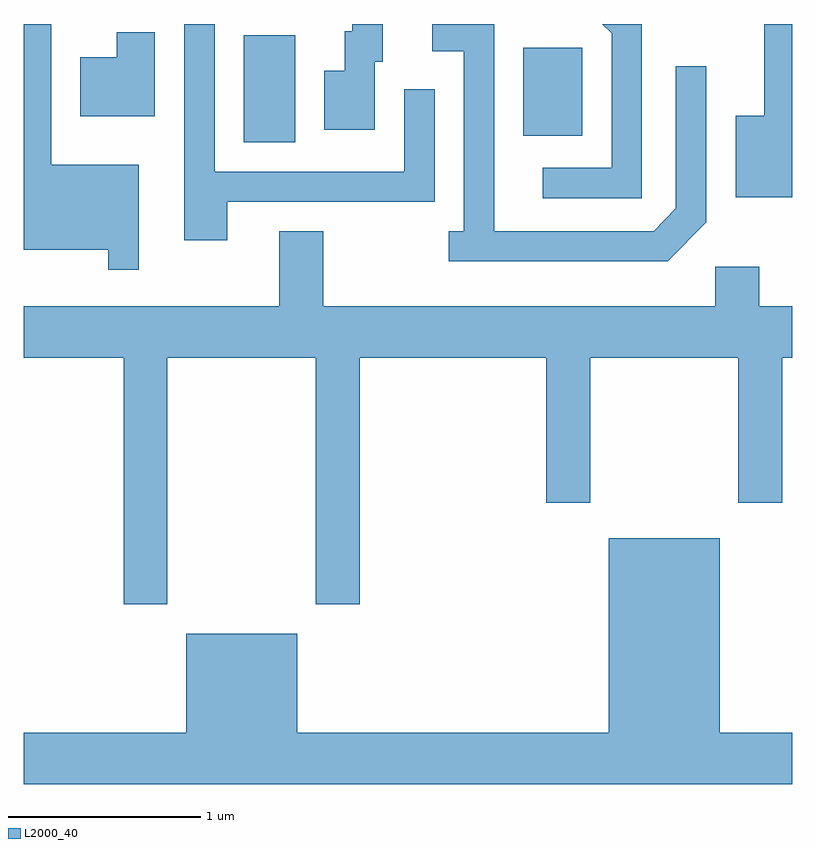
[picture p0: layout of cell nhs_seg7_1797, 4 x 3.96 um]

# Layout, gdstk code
import gdstk
lib = gdstk.Library(unit=1e-6, precision=1e-09)
def R(c, l, rs):  # rectangles x0, y0, x1, y1
    for r in rs: c.add(gdstk.rectangle(r[:2], r[2:], *l))
def P(c, l, *ps):  # polygons
    for p in ps: c.add(gdstk.Polygon(p, *l))
L2000_40 = (2000, 40)

nhs_seg7_1797 = lib.new_cell('nhs_seg7_1797')
R(nhs_seg7_1797, L2000_40, [(240.756,1737.636,241.024,1738.194), (242.211,1737.671,242.519,1738.129)])
P(nhs_seg7_1797, L2000_40, [(243.611,1738.252),(243.466,1738.252),(243.466,1737.774),(243.316,1737.774),(243.316,1737.351),(243.611,1737.351)],
  [(243.164,1737.219),(243.164,1738.033),(243.006,1738.033),(243.006,1737.292),(242.889,1737.174),(242.059,1737.174),(242.059,1738.252),(241.738,1738.252),(241.738,1738.111),(241.901,1738.111),(241.901,1737.174),(241.823,1737.174),(241.823,1737.016),(242.962,1737.016)],
  [(240.209,1737.519),(239.754,1737.519),(239.754,1738.252),(239.611,1738.252),(239.611,1737.076),(240.051,1737.076),(240.051,1736.973),(240.209,1736.973)],
  [(240.669,1737.326),(241.749,1737.326),(241.749,1737.913),(241.591,1737.913),(241.591,1737.484),(240.604,1737.484),(240.604,1738.252),(240.446,1738.252),(240.446,1737.126),(240.669,1737.126)],
  [(241.439,1738.056),(241.479,1738.056),(241.479,1738.252),(241.321,1738.252),(241.321,1738.214),(241.281,1738.214),(241.281,1738.009),(241.176,1738.009),(241.176,1737.701),(241.439,1737.701)],
  [(242.829,1738.252),(242.623,1738.252),(242.671,1738.204),(242.671,1737.504),(242.313,1737.504),(242.313,1737.346),(242.829,1737.346)],
  [(240.294,1738.209),(240.096,1738.209),(240.096,1738.079),(239.906,1738.079),(239.906,1737.771),(240.294,1737.771)],
  [(240.359,1736.516),(241.131,1736.516),(241.131,1735.231),(241.359,1735.231),(241.359,1736.516),(242.331,1736.516),(242.331,1735.761),(242.559,1735.761),(242.559,1736.516),(243.331,1736.516),(243.331,1735.761),(243.559,1735.761),(243.559,1736.516),(243.611,1736.516),(243.611,1736.784),(243.439,1736.784),(243.439,1736.989),(243.211,1736.989),(243.211,1736.784),(241.169,1736.784),(241.169,1737.174),(240.941,1737.174),(240.941,1736.784),(239.611,1736.784),(239.611,1736.516),(240.131,1736.516),(240.131,1735.231),(240.359,1735.231)],
  [(243.611,1734.564),(243.234,1734.564),(243.234,1735.574),(242.656,1735.574),(242.656,1734.564),(241.034,1734.564),(241.034,1735.079),(240.456,1735.079),(240.456,1734.564),(239.611,1734.564),(239.611,1734.296),(243.611,1734.296)])

lib.write_gds('nhs_seg7_1797.gds')
